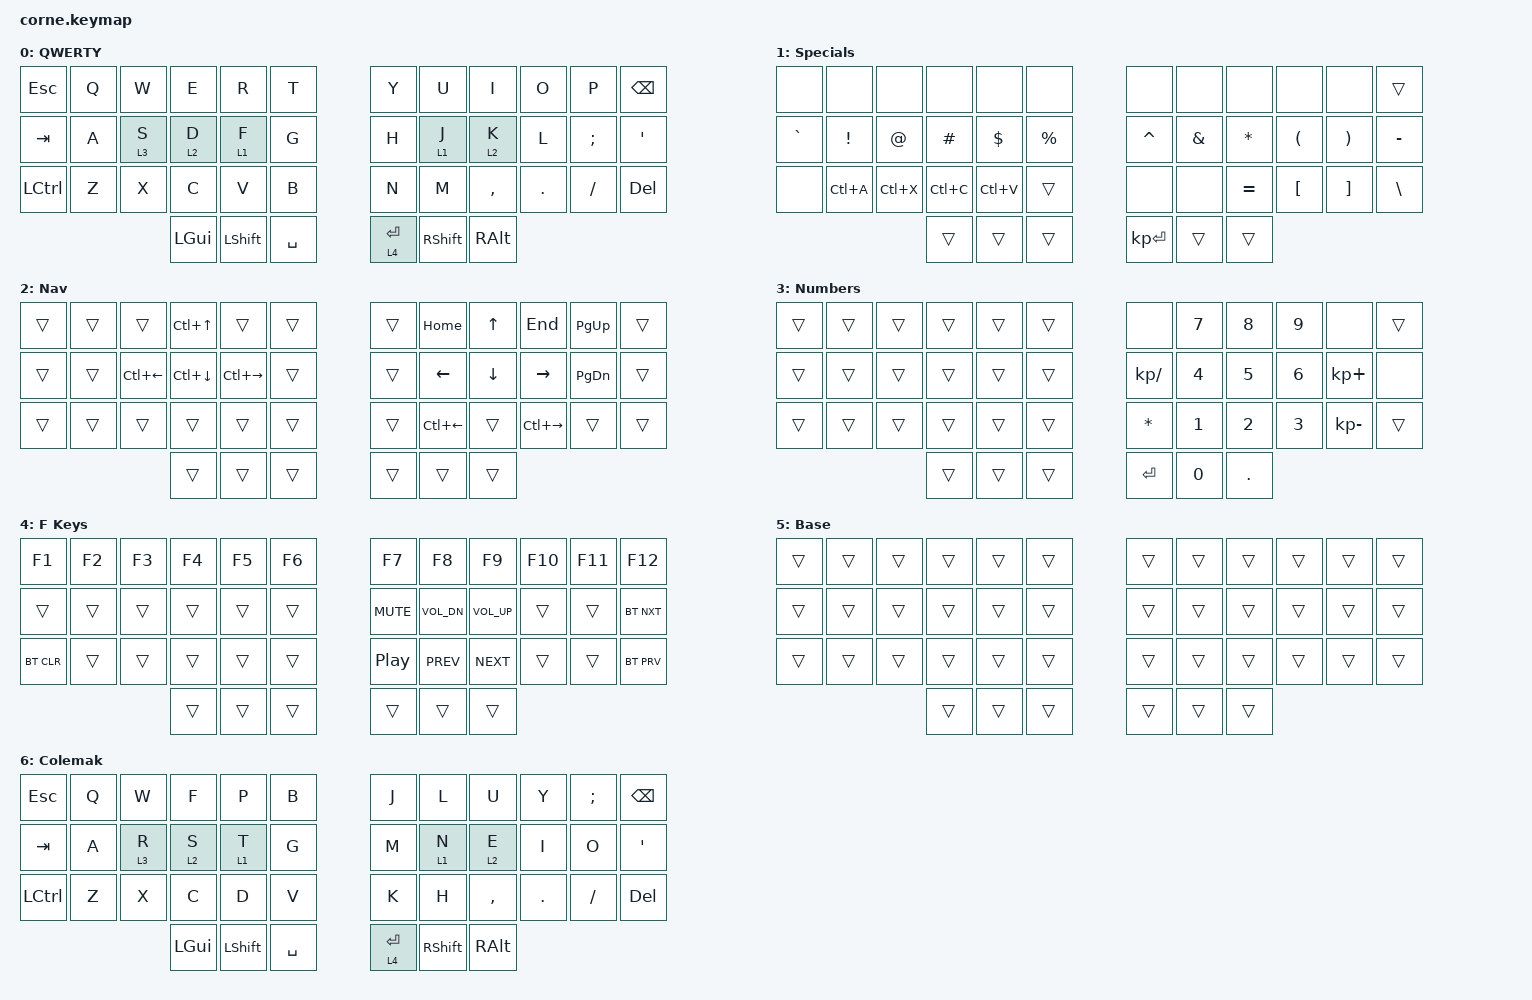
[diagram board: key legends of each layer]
/*
 * Copyright (c) 2020 The ZMK Contributors
 *
 * SPDX-License-Identifier: MIT
 */

#include <behaviors.dtsi>
#include <dt-bindings/zmk/bt.h>
#include <dt-bindings/zmk/keys.h>

#define NONE    0
#define QWERTY  3

/ {
    macros {
        WindowsLock: WindowsLock {
            compatible = "zmk,behavior-macro";
            #binding-cells = <0>;
            bindings = <&kp LEFT_WIN &kp L>;
            label = "WINDOWSLOCK";
        };
    };

    keymap {
        compatible = "zmk,keymap";

        QWERTY {
            // -----------------------------------------------------------------------------------------
            // |  TAB |  Q  |  W  |  F  |  P  |  B  |   |  J  |  L   |  U  |  Y  |  ;  | BKSP |
            // | CTRL |  A  |  R  |  S  |  T  |  G  |   |  M  |  N   |  E  |  I  |  O  |  '   |
            // | SHFT |  Z  |  X  |  C  |  D  |  V  |   |  K  |  H   |  ,  |  .  |  /  | ESC  |
            //                    | GUI | LWR | SPC |   | ENT | RSE  | ALT |

            display-name = "QWERTY";
            bindings = <
&kp ESC    &kp Q  &kp W    &kp E     &kp R           &kp T        &kp Y        &kp U            &kp I      &kp O    &kp P     &kp BSPC
&kp TAB    &kp A  &lt 3 S  &lt 2 D   &lt 1 F         &kp G        &kp H        &lt 1 J          &lt 2 K    &kp L    &kp SEMI  &kp SQT
&kp LCTRL  &kp Z  &kp X    &kp C     &kp V           &kp B        &kp N        &kp M            &kp COMMA  &kp DOT  &kp FSLH  &kp DELETE
                           &kp LGUI  &kp LEFT_SHIFT  &kp SPACE    &lt 4 ENTER  &kp RIGHT_SHIFT  &kp RALT
            >;
        };

        Specials {
            // -----------------------------------------------------------------------------------------
            // |  ~   |  !  |  @  |  #  |  $  |  %  |   |  ^  |  &  |  *  |  (  |  )  | BKSP |
            // | CTRL |     |     |     |     |     |   |  -  |  =  |  [  |  ]  |  \  |  `   |
            // | SHFT |     |     |     |     |     |   |  _  |  +  |  {  |  }  | "|" |  ~   |
            //                    | GUI |     | SPC |   | ENT |     | ALT |

            display-name = "Specials";
            bindings = <
&none      &none            &none        &none      &none       &none          &none         &none          &none         &none                 &none                  &trans
&kp GRAVE  &kp EXCLAMATION  &kp AT_SIGN  &kp POUND  &kp DOLLAR  &kp PERCENT    &kp CARET     &kp AMPERSAND  &kp ASTERISK  &kp LEFT_PARENTHESIS  &kp RIGHT_PARENTHESIS  &kp MINUS
&none      &kp LC(A)        &kp LC(X)    &kp LC(C)  &kp LC(V)   &trans         &none         &none          &kp EQUAL     &kp LEFT_BRACKET      &kp RIGHT_BRACKET      &kp BACKSLASH
                                         &trans     &trans      &trans         &kp KP_ENTER  &trans         &trans
            >;
        };

        Navigations {
            display-name = "Nav";
            bindings = <
&trans  &trans  &trans              &kp LC(UP_ARROW)    &trans               &trans    &trans  &kp HOME            &kp UP    &kp END              &kp PAGE_UP    &trans
&trans  &trans  &kp LC(LEFT_ARROW)  &kp LC(DOWN_ARROW)  &kp LC(RIGHT_ARROW)  &trans    &trans  &kp LEFT            &kp DOWN  &kp RIGHT            &kp PAGE_DOWN  &trans
&trans  &trans  &trans              &trans              &trans               &trans    &trans  &kp LC(LEFT_ARROW)  &trans    &kp LC(RIGHT_ARROW)  &trans         &trans
                                    &trans              &trans               &trans    &trans  &trans              &trans
            >;
        };

        Numbers {
            // -----------------------------------------------------------------------------------------
            // |  TAB |  1  |  2  |  3  |  4  |  5  |   |  6  |  7  |  8  |  9  |  0  | BKSP |
            // | BTCLR| BT1 | BT2 | BT3 | BT4 | BT5 |   |     |     | UP  |     |     |  L0  |
            // | SHFT |     |     |     |     |     |   |     | LFT | DWN | RGT |     |  L3  |
            //                    | GUI |     | SPC |   | ENT |     | ALT |

            display-name = "Numbers";
            bindings = <
&trans  &trans  &trans  &trans  &trans  &trans    &none          &kp N7  &kp N8   &kp N9  &none         &trans
&trans  &trans  &trans  &trans  &trans  &trans    &kp KP_DIVIDE  &kp N4  &kp N5   &kp N6  &kp KP_PLUS   &none
&trans  &trans  &trans  &trans  &trans  &trans    &kp ASTERISK   &kp N1  &kp N2   &kp N3  &kp KP_MINUS  &trans
                        &trans  &trans  &trans    &kp ENTER      &kp N0  &kp DOT
            >;
        };

        Functions {
            // -----------------------------------------------------------------------------------------
            // |      |     |     |     |     |     |   |     |      |     |     |     |     |
            // |      |     |     |     |     |     |   |     |      |     |     |     |     |
            // |      |     |     |     |     |     |   |     |      |     |     |     |     |
            //                    |     |     |     |   |     |      |     |

            display-name = "F Keys";
            bindings = <
&kp F1      &kp F2  &kp F3  &kp F4  &kp F5  &kp F6    &kp F7      &kp F8        &kp F9        &kp F10  &kp F11  &kp F12
&trans      &trans  &trans  &trans  &trans  &trans    &kp C_MUTE  &kp C_VOL_DN  &kp C_VOL_UP  &trans   &trans   &bt BT_NXT
&bt BT_CLR  &trans  &trans  &trans  &trans  &trans    &kp C_PP    &kp C_PREV    &kp C_NEXT    &trans   &trans   &bt BT_PRV
                            &trans  &trans  &trans    &trans      &trans        &trans
            >;
        };

        Template {
            display-name = "Base";
            bindings = <
&trans  &trans  &trans  &trans  &trans  &trans    &trans  &trans  &trans  &trans  &trans  &trans
&trans  &trans  &trans  &trans  &trans  &trans    &trans  &trans  &trans  &trans  &trans  &trans
&trans  &trans  &trans  &trans  &trans  &trans    &trans  &trans  &trans  &trans  &trans  &trans
                        &trans  &trans  &trans    &trans  &trans  &trans
            >;
        };

        Colemak-DH {
            // -----------------------------------------------------------------------------------------
            // |  TAB |  Q  |  W  |  E  |  R  |  T  |   |  Y  |  U   |  I  |  O  |  P  | BKSP |
            // | CTRL |  A  |  S  |  D  |  F  |  G  |   |  H  |  J   |  K  |  L  |  ;  |  '   |
            // | SHFT |  Z  |  X  |  C  |  V  |  B  |   |  N  |  M   |  ,  |  .  |  /  | ESC  |
            //                    | GUI | LWR | SPC |   | ENT | RSE  | ALT |

            display-name = "Colemak";
            bindings = <
&kp ESC    &kp Q  &kp W    &kp F     &kp P           &kp B        &kp J        &kp L            &kp U      &kp Y    &kp SEMI  &kp BSPC
&kp TAB    &kp A  &lt 3 R  &lt 2 S   &lt 1 T         &kp G        &kp M        &lt 1 N          &lt 2 E    &kp I    &kp O     &kp APOS
&kp LCTRL  &kp Z  &kp X    &kp C     &kp D           &kp V        &kp K        &kp H            &kp COMMA  &kp DOT  &kp FSLH  &kp DEL
                           &kp LGUI  &kp LEFT_SHIFT  &kp SPACE    &lt 4 ENTER  &kp RIGHT_SHIFT  &kp RALT
            >;
        };
    };
};
